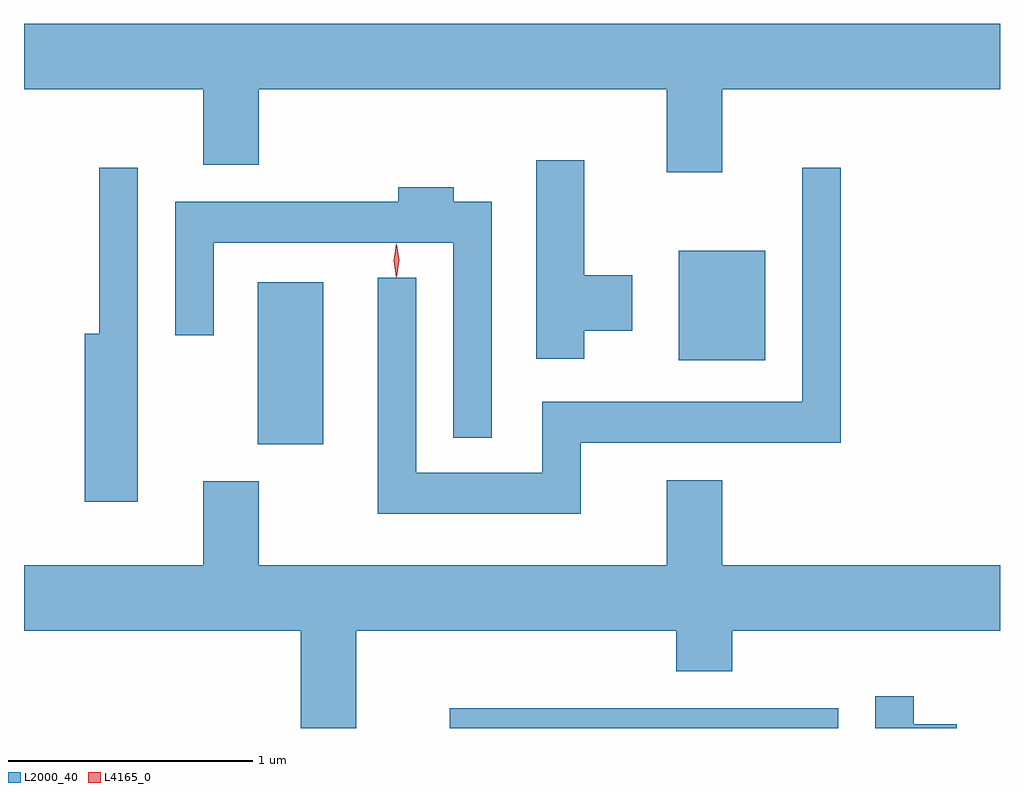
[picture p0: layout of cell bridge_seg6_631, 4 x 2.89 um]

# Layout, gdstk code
import gdstk
lib = gdstk.Library(unit=1e-6, precision=1e-09)
def R(c, l, rs):  # rectangles x0, y0, x1, y1
    for r in rs: c.add(gdstk.rectangle(r[:2], r[2:], *l))
def P(c, l, *ps):  # polygons
    for p in ps: c.add(gdstk.Polygon(p, *l))
L2000_40 = (2000, 40)
L4165_0 = (4165, 0)

bridge_seg6_631 = lib.new_cell('bridge_seg6_631')
R(bridge_seg6_631, L2000_40, [(402.901,1656.197,404.494,1656.279), (402.116,1657.361,402.384,1658.024), (403.841,1657.706,404.194,1658.154)])
P(bridge_seg6_631, L2000_40, [(404.019,1658.816),(405.157,1658.816),(405.157,1659.084),(401.157,1659.084),(401.157,1658.816),(401.891,1658.816),(401.891,1658.506),(402.119,1658.506),(402.119,1658.816),(403.791,1658.816),(403.791,1658.476),(404.019,1658.476)],
  [(403.454,1657.826),(403.649,1657.826),(403.649,1658.054),(403.454,1658.054),(403.454,1658.524),(403.256,1658.524),(403.256,1657.711),(403.454,1657.711)],
  [(403.439,1657.366),(404.504,1657.366),(404.504,1658.493),(404.346,1658.493),(404.346,1657.534),(403.281,1657.534),(403.281,1657.244),(402.764,1657.244),(402.764,1658.043),(402.606,1658.043),(402.606,1657.076),(403.439,1657.076)],
  [(401.624,1658.493),(401.466,1658.493),(401.466,1657.814),(401.406,1657.814),(401.406,1657.126),(401.624,1657.126)],
  [(403.074,1658.354),(402.919,1658.354),(402.919,1658.414),(402.691,1658.414),(402.691,1658.354),(401.776,1658.354),(401.776,1657.808),(401.934,1657.808),(401.934,1658.186),(402.916,1658.186),(402.916,1657.388),(403.074,1657.388)],
  [(402.519,1656.596),(403.831,1656.596),(403.831,1656.431),(404.059,1656.431),(404.059,1656.596),(405.157,1656.596),(405.157,1656.864),(404.019,1656.864),(404.019,1657.214),(403.791,1657.214),(403.791,1656.864),(402.119,1656.864),(402.119,1657.209),(401.891,1657.209),(401.891,1656.864),(401.157,1656.864),(401.157,1656.596),(402.291,1656.596),(402.291,1656.197),(402.519,1656.197)],
  [(404.979,1656.214),(404.804,1656.214),(404.804,1656.328),(404.646,1656.328),(404.646,1656.197),(404.979,1656.197)])
P(bridge_seg6_631, L4165_0, [(402.682,1658.043),(402.682,1658.044),(402.672,1658.113),(402.682,1658.182),(402.682,1658.183),(402.683,1658.182),(402.692,1658.113),(402.683,1658.044)],
  [(402.684,1658.047),(402.684,1658.048),(402.674,1658.114),(402.684,1658.18),(402.684,1658.181),(402.685,1658.18),(402.694,1658.114),(402.685,1658.048)])

lib.write_gds('bridge_seg6_631.gds')
